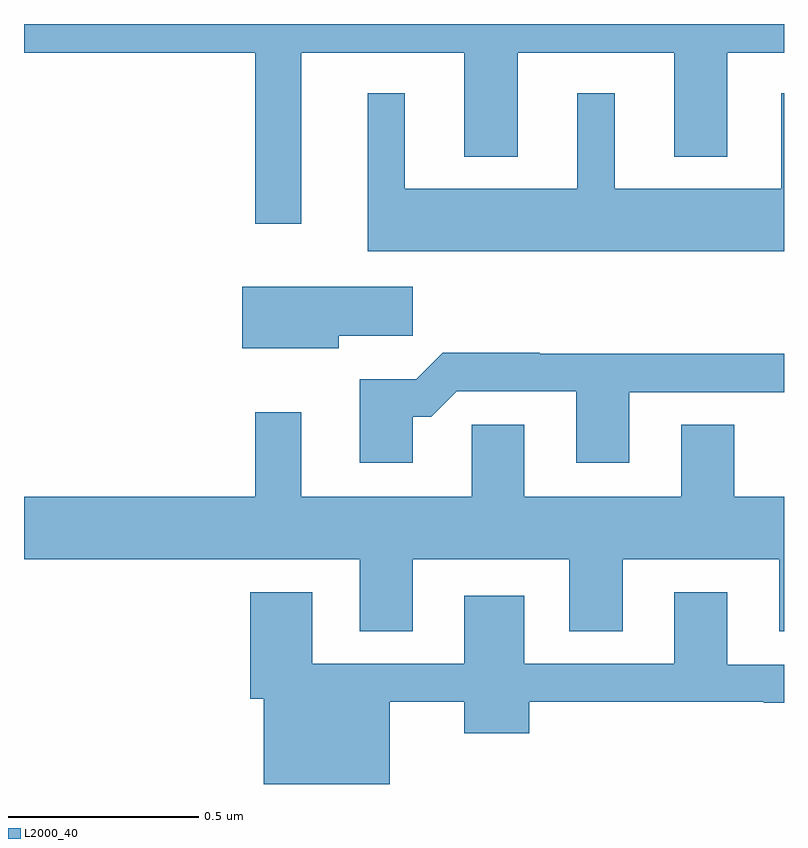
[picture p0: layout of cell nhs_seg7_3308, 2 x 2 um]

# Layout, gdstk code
import gdstk
lib = gdstk.Library(unit=1e-6, precision=1e-09)
def P(c, l, *ps):  # polygons
    for p in ps: c.add(gdstk.Polygon(p, *l))
L2000_40 = (2000, 40)

nhs_seg7_3308 = lib.new_cell('nhs_seg7_3308')
P(nhs_seg7_3308, L2000_40, [(157.729,1025.924),(158.159,1025.924),(158.159,1025.651),(158.299,1025.651),(158.299,1025.924),(158.711,1025.924),(158.711,1025.651),(158.851,1025.651),(158.851,1025.924),(159,1025.924),(159,1026),(157,1026),(157,1025.924),(157.608,1025.924),(157.608,1025.475),(157.729,1025.475)],
  [(159,1025.818),(158.993,1025.818),(158.993,1025.566),(158.554,1025.566),(158.554,1025.818),(158.456,1025.818),(158.456,1025.566),(158.002,1025.566),(158.002,1025.818),(157.904,1025.818),(157.904,1025.402),(159,1025.402)],
  [(157.828,1025.179),(158.023,1025.179),(158.023,1025.308),(157.574,1025.308),(157.574,1025.147),(157.828,1025.147)],
  [(158.023,1024.967),(158.072,1024.967),(158.139,1025.034),(158.453,1025.034),(158.453,1024.845),(158.593,1024.845),(158.593,1025.031),(159,1025.031),(159,1025.132),(158.357,1025.132),(158.357,1025.135),(158.102,1025.135),(158.032,1025.065),(157.883,1025.065),(157.883,1024.845),(158.023,1024.845)],
  [(158.023,1024.592),(158.435,1024.592),(158.435,1024.402),(158.575,1024.402),(158.575,1024.592),(158.987,1024.592),(158.987,1024.402),(159,1024.402),(159,1024.756),(158.869,1024.756),(158.869,1024.946),(158.729,1024.946),(158.729,1024.756),(158.317,1024.756),(158.317,1024.946),(158.178,1024.946),(158.178,1024.756),(157.729,1024.756),(157.729,1024.978),(157.608,1024.978),(157.608,1024.756),(157,1024.756),(157,1024.592),(157.883,1024.592),(157.883,1024.402),(158.023,1024.402)],
  [(157.963,1024.216),(158.159,1024.216),(158.159,1024.133),(158.33,1024.133),(158.33,1024.216),(158.947,1024.216),(158.947,1024.214),(159,1024.214),(159,1024.314),(158.851,1024.314),(158.851,1024.504),(158.711,1024.504),(158.711,1024.317),(158.317,1024.317),(158.317,1024.495),(158.159,1024.495),(158.159,1024.317),(157.759,1024.317),(157.759,1024.504),(157.595,1024.504),(157.595,1024.224),(157.631,1024.224),(157.631,1024),(157.963,1024)])

lib.write_gds('nhs_seg7_3308.gds')
